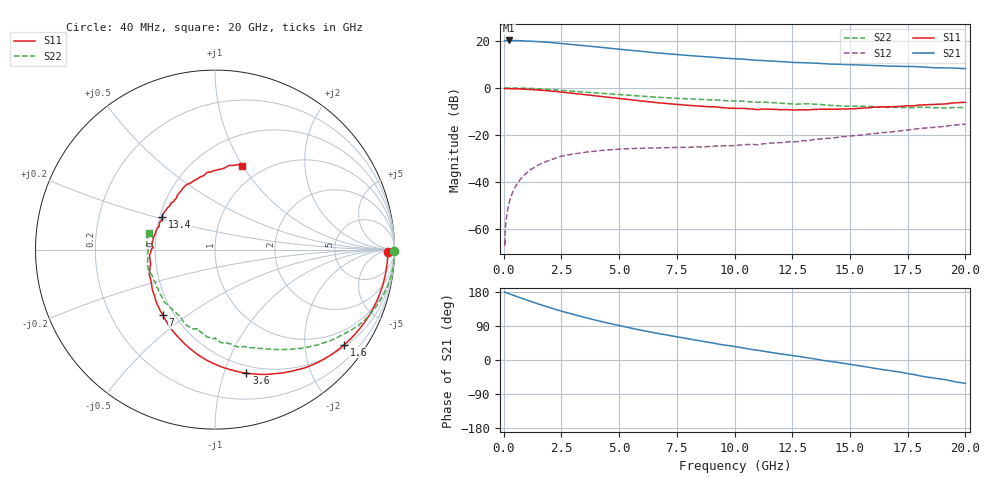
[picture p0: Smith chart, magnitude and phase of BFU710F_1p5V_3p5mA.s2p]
! Filename:  P:\Prog\Test\Noise\ATS_data\Testdata_Net\BFU710\BFU710_2W_A1_1.5V3.5mA_D.s2p
! Date/Time: Fri 29/Apr/2011 13:25:41
! BFU710_2W_A1_1.5V3.5mA
! bias mode 1: Vout= 1.5000 V, Iout= 3.4550 mA, Vin= 0.8156 V, Iin= 0.0115 mA
! Date/time Wed Mar 16 12:47:41 2011
! Device data file deembeded for feedlines and parallel
! Original file: \BFU710\BFU710_2W_A1_1.5V3.5mA_R.s2p
! Feed-files: PR003V01_101208_Feed1.s2p, PR003V01_101208_Feed2.s2p
! Parallel-file: PR003V01_101208_Par.s2p
# MHz S MA R 50
!  Freq-MHz  S11-mag  S11-arg  S21-mag  S21-arg  S12-mag  S12-arg  S22-mag  S22-arg
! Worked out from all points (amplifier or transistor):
!   167 points, 40 MHz to 20 GHz, reference 50 ohm
!   highest |S21| = 20.2 dB at 240 MHz (marker M1)
!   |S21| within 3 dB of that: start of sweep to 4.28 GHz
!   unconditionally stable (mu >= 1): 7.566 GHz to 17.69 GHz
!   at 550 MHz: K = 0.02, MSG = 30.7 dB, |S12| = -41.3 dB
!   at 4.2 GHz: K = 0.51, MSG = 22.0 dB, |S12| = -26.7 dB
!   at 20 GHz: K = 0.84, MSG = 11.8 dB, |S12| = -15.4 dB
!   S11 on the Smith chart (normalised r, x): 40 MHz: 45, -19; 1.6 GHz: 0.56, -2.95; 3.6 GHz: 0.43, -1.19; 7 GHz: 0.43, -0.40; 13.4 GHz: 0.51, +0.21; 20 GHz: 0.81, +0.99
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40  0.9631 -0.9  10.16 179.2  0.0005723 87.4  0.999 -0.4
50  0.964 -1.2  10.2 178.5  0.0004283 64.4  0.9988 -0.6
70  0.9635 -1.5  10.1 178.6  0.000991 90.0  0.9997 -0.8
120  0.9626 -2.7  10.16 177.4  0.001762 90.3  0.9999 -1.4
240  0.9613 -5.5  10.2 174.8  0.003623 89.2  0.9995 -3.0
800  0.9442 -18.5  10.07 162.5  0.01252 80.1  0.9876 -10.3
1600  0.8941 -36.3  9.585 146.0  0.0241 67.8  0.9495 -20.1
2300  0.834 -51.2  8.99 132.4  0.03264 58.7  0.903 -28.1
2700  0.7936 -59.2  8.6 125.5  0.03687 53.0  0.8685 -32.1
3400  0.7281 -72.2  7.97 114.0  0.04177 45.5  0.8188 -38.3
3600  0.71 -75.8  7.795 111.0  0.04308 43.7  0.8043 -39.9
4400  0.6406 -89.5  7.137 99.0  0.04743 37.1  0.753 -46.1
5200  0.5778 -102.4  6.507 88.0  0.05025 31.6  0.7047 -51.9
6000  0.5226 -114.5  5.95 78.0  0.05194 27.3  0.6632 -57.1
6800  0.4767 -126.0  5.471 68.8  0.053 24.3  0.6283 -62.0
7000  0.4659 -128.7  5.361 66.5  0.05328 23.8  0.6185 -63.3
8800  0.3986 -153.6  4.573 47.3  0.05614 21.6  0.5609 -74.5
10200  0.3661 -171.8  4.113 33.7  0.06044 21.4  0.5218 -84.1
13400  0.3474 148.4  3.354 3.4  0.07939 20.2  0.4516 -109.8
16800  0.3972 109.0  2.9 -28.4  0.1154 9.7  0.3854 -145.4
18200  0.4339 92.9  2.774 -43.7  0.1391 1.4  0.3863 -165.7
20000  0.4913 72.2  2.566 -61.8  0.1695 -10.5  0.3792 166.1
